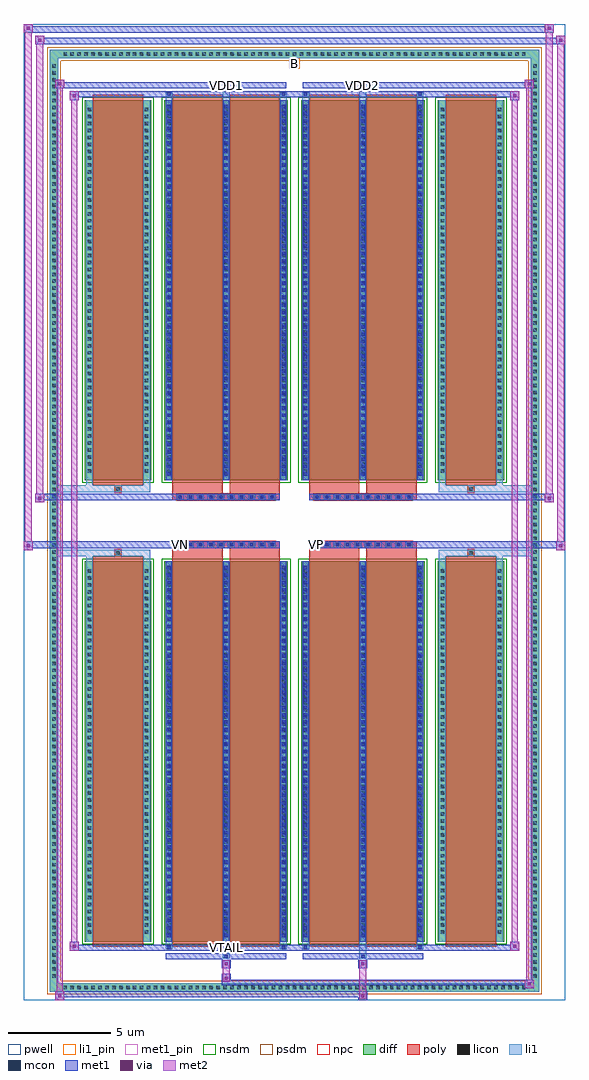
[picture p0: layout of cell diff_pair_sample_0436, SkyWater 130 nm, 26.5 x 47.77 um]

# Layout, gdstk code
import gdstk
lib = gdstk.Library(unit=1e-6, precision=5e-09)
def R(c, l, rs):  # rectangles x0, y0, x1, y1
    for r in rs: c.add(gdstk.rectangle(r[:2], r[2:], *l))
def A(c, l, x, y, w, h, nx, ny, dx, dy):  # array of equal rectangles
    R(c, l, [(x+i*dx, y+j*dy, x+i*dx+w, y+j*dy+h) for i in range(nx) for j in range(ny)])
def P(c, l, *ps):  # polygons
    for p in ps: c.add(gdstk.Polygon(p, *l))
pwell = (64, 44)
diff = (65, 20)
poly = (66, 20)
licon = (66, 44)
li1_pin = (67, 16)
li1 = (67, 20)
mcon = (67, 44)
met1_pin = (68, 16)
met1 = (68, 20)
via = (68, 44)
met2 = (69, 20)
nsdm = (93, 44)
psdm = (94, 20)
npc = (95, 20)

diff_pair_sample_0436 = lib.new_cell('diff_pair_sample_0436')
R(diff_pair_sample_0436, pwell, [(-13.25,-23.45,13.25,24.32), (-10.57,-21.64,-0.01,-0.8), (0.01,-21.64,10.57,-0.8), (-10.57,0.8,-0.01,21.64), (0.01,0.8,10.57,21.64)])
A(diff_pair_sample_0436, diff, -11.425, -23.05, 0.41, 0.41, 67, 2, 0.34, 45.69)
A(diff_pair_sample_0436, diff, -11.98, -22.475, 0.41, 0.41, 1, 132, 0, 0.34)
A(diff_pair_sample_0436, diff, 11.57, -22.475, 0.41, 0.41, 1, 132, 0, 0.34)
R(diff_pair_sample_0436, diff, [(-11.425,-23.05,11.425,-22.64), (-11.98,-22.475,-11.57,22.475), (11.57,-22.475,11.98,22.475), (-10.26,-20.595,-7.01,-1.985), (-6.37,-20.595,-0.32,-1.985), (0.32,-20.595,6.37,-1.985), (7.01,-20.595,10.26,-1.985), (-10.26,1.985,-7.01,20.595), (-6.37,1.985,-0.32,20.595), (0.32,1.985,6.37,20.595), (7.01,1.985,10.26,20.595), (-11.425,22.64,11.425,23.05)])
P(diff_pair_sample_0436, diff, [(11.98,23.05),(-11.98,23.05),(-11.98,-22.64),(-11.57,-22.64),(-11.57,22.64),(11.57,22.64),(11.57,-22.64),(-11.57,-22.64),(-11.98,-22.64),(-11.98,-23.05),(11.98,-23.05)])
A(diff_pair_sample_0436, poly, -5.76, -1.33, 0.33, 0.33, 10, 2, 0.5, 2.33)
A(diff_pair_sample_0436, poly, 0.93, -1.33, 0.33, 0.33, 10, 2, 0.5, 2.33)
R(diff_pair_sample_0436, poly, [(-9.87,-20.845,-7.4,-1.735), (-5.98,-20.845,-3.51,-1.735), (-3.18,-20.845,-0.71,-1.735), (0.71,-20.845,3.18,-1.735), (3.51,-20.845,5.98,-1.735), (7.4,-20.845,9.87,-1.735), (-8.8,-1.735,-8.47,-1.405), (-8.8,-1.735,-8.47,-1.405), (-5.98,-1.735,-3.51,-1.33), (-3.18,-1.735,-0.71,-1.33), (0.71,-1.735,3.18,-1.33), (3.51,-1.735,5.98,-1.33), (8.47,-1.735,8.8,-1.405), (8.47,-1.735,8.8,-1.405), (-5.98,-1.33,-0.71,-1), (0.71,-1.33,5.98,-1), (-5.98,1,-0.71,1.33), (0.71,1,5.98,1.33), (-5.98,1.33,-3.51,1.735), (-3.18,1.33,-0.71,1.735), (0.71,1.33,3.18,1.735), (3.51,1.33,5.98,1.735), (-8.8,1.405,-8.47,1.735), (-8.8,1.405,-8.47,1.735), (8.47,1.405,8.8,1.735), (8.47,1.405,8.8,1.735), (-9.87,1.735,-7.4,20.845), (-5.98,1.735,-3.51,20.845), (-3.18,1.735,-0.71,20.845), (0.71,1.735,3.18,20.845), (3.51,1.735,5.98,20.845), (7.4,1.735,9.87,20.845)])
A(diff_pair_sample_0436, licon, -11.305, -22.93, 0.17, 0.17, 67, 2, 0.34, 45.69)
A(diff_pair_sample_0436, licon, -11.86, -22.355, 0.17, 0.17, 1, 132, 0, 0.34)
A(diff_pair_sample_0436, licon, 11.69, -22.355, 0.17, 0.17, 1, 132, 0, 0.34)
A(diff_pair_sample_0436, licon, -10.12, -20.215, 0.17, 0.17, 1, 53, 0, 0.34)
A(diff_pair_sample_0436, licon, -7.32, -20.215, 0.17, 0.17, 1, 53, 0, 0.34)
A(diff_pair_sample_0436, licon, -6.23, -20.215, 0.17, 0.17, 3, 53, 2.8, 0.34)
A(diff_pair_sample_0436, licon, 0.46, -20.215, 0.17, 0.17, 3, 53, 2.8, 0.34)
A(diff_pair_sample_0436, licon, 7.15, -20.215, 0.17, 0.17, 1, 53, 0, 0.34)
A(diff_pair_sample_0436, licon, 9.95, -20.215, 0.17, 0.17, 1, 53, 0, 0.34)
A(diff_pair_sample_0436, licon, -5.68, -1.25, 0.17, 0.17, 10, 2, 0.5, 2.33)
A(diff_pair_sample_0436, licon, 1.01, -1.25, 0.17, 0.17, 10, 2, 0.5, 2.33)
A(diff_pair_sample_0436, licon, -10.12, 2.365, 0.17, 0.17, 1, 53, 0, 0.34)
A(diff_pair_sample_0436, licon, -7.32, 2.365, 0.17, 0.17, 1, 53, 0, 0.34)
A(diff_pair_sample_0436, licon, -6.23, 2.365, 0.17, 0.17, 3, 53, 2.8, 0.34)
A(diff_pair_sample_0436, licon, 0.46, 2.365, 0.17, 0.17, 3, 53, 2.8, 0.34)
A(diff_pair_sample_0436, licon, 7.15, 2.365, 0.17, 0.17, 1, 53, 0, 0.34)
A(diff_pair_sample_0436, licon, 9.95, 2.365, 0.17, 0.17, 1, 53, 0, 0.34)
R(diff_pair_sample_0436, licon, [(-8.72,-1.655,-8.55,-1.485), (8.55,-1.655,8.72,-1.485), (-8.72,1.485,-8.55,1.655), (8.55,1.485,8.72,1.655)])
R(diff_pair_sample_0436, li1_pin, [(-0.25,22.14,0.25,22.64)])
A(diff_pair_sample_0436, li1, -11.385, -23.01, 0.33, 0.33, 67, 2, 0.34, 45.69)
A(diff_pair_sample_0436, li1, -11.94, -22.435, 0.33, 0.33, 1, 132, 0, 0.34)
A(diff_pair_sample_0436, li1, 11.61, -22.435, 0.33, 0.33, 1, 132, 0, 0.34)
A(diff_pair_sample_0436, li1, -6.31, -20.595, 0.33, 18.61, 3, 2, 2.8, 22.58)
A(diff_pair_sample_0436, li1, 0.38, -20.595, 0.33, 18.61, 3, 2, 2.8, 22.58)
A(diff_pair_sample_0436, li1, -6.23, -20.375, 0.17, 0.17, 3, 51, 2.8, 0.36)
A(diff_pair_sample_0436, li1, -6.23, -20.375, 0.17, 18.17, 3, 2, 2.8, 22.58)
A(diff_pair_sample_0436, li1, 0.46, -20.375, 0.17, 0.17, 3, 51, 2.8, 0.36)
A(diff_pair_sample_0436, li1, 0.46, -20.375, 0.17, 18.17, 3, 2, 2.8, 22.58)
A(diff_pair_sample_0436, li1, -10.2, -20.295, 0.33, 0.33, 1, 53, 0, 0.34)
A(diff_pair_sample_0436, li1, -7.4, -20.295, 0.33, 0.33, 1, 53, 0, 0.34)
A(diff_pair_sample_0436, li1, -6.31, -20.295, 0.33, 0.33, 3, 53, 2.8, 0.34)
A(diff_pair_sample_0436, li1, 0.38, -20.295, 0.33, 0.33, 3, 53, 2.8, 0.34)
A(diff_pair_sample_0436, li1, 7.07, -20.295, 0.33, 0.33, 1, 53, 0, 0.34)
A(diff_pair_sample_0436, li1, 9.87, -20.295, 0.33, 0.33, 1, 53, 0, 0.34)
A(diff_pair_sample_0436, li1, -5.76, -1.33, 0.33, 0.33, 10, 2, 0.5, 2.33)
A(diff_pair_sample_0436, li1, 0.93, -1.33, 0.33, 0.33, 10, 2, 0.5, 2.33)
A(diff_pair_sample_0436, li1, -6.23, 2.205, 0.17, 0.17, 3, 51, 2.8, 0.36)
A(diff_pair_sample_0436, li1, 0.46, 2.205, 0.17, 0.17, 3, 51, 2.8, 0.36)
A(diff_pair_sample_0436, li1, -10.2, 2.285, 0.33, 0.33, 1, 53, 0, 0.34)
A(diff_pair_sample_0436, li1, -7.4, 2.285, 0.33, 0.33, 1, 53, 0, 0.34)
A(diff_pair_sample_0436, li1, -6.31, 2.285, 0.33, 0.33, 3, 53, 2.8, 0.34)
A(diff_pair_sample_0436, li1, 0.38, 2.285, 0.33, 0.33, 3, 53, 2.8, 0.34)
A(diff_pair_sample_0436, li1, 7.07, 2.285, 0.33, 0.33, 1, 53, 0, 0.34)
A(diff_pair_sample_0436, li1, 9.87, 2.285, 0.33, 0.33, 1, 53, 0, 0.34)
R(diff_pair_sample_0436, li1, [(-11.98,-23.05,-11.57,-22.64), (-11.98,-23.05,-11.57,-22.64), (-11.57,-23.05,11.57,-22.64), (11.57,-23.05,11.98,-22.64), (11.57,-23.05,11.98,-22.64), (-11.98,-22.64,-11.57,22.64), (11.57,-22.64,11.98,22.64), (-3.51,-21.4,-3.18,-20.595), (-3.43,-21.4,-3.26,-21.23), (3.18,-21.4,3.51,-20.595), (3.26,-21.4,3.43,-21.23), (-6.31,-20.97,-5.98,-20.595), (-6.23,-20.97,-6.06,-20.8), (-0.71,-20.97,-0.38,-20.595), (-0.63,-20.97,-0.46,-20.8), (0.38,-20.97,0.71,-20.595), (0.46,-20.97,0.63,-20.8), (5.98,-20.97,6.31,-20.595), (6.06,-20.97,6.23,-20.8), (-10.2,-20.595,-9.87,-1.985), (-7.4,-20.595,-7.07,-1.985), (7.07,-20.595,7.4,-1.985), (9.87,-20.595,10.2,-1.985), (-10.2,-1.985,-9.87,-1.405), (-7.4,-1.985,-7.07,-1.405), (7.07,-1.985,7.4,-1.405), (9.87,-1.985,10.2,-1.405), (-11.98,-1.735,-8.8,-1.405), (-10.2,-1.735,-8.8,-1.405), (-8.8,-1.735,-8.47,-1.405), (-8.47,-1.735,-7.07,-1.405), (7.07,-1.735,8.47,-1.405), (8.47,-1.735,8.8,-1.405), (8.47,-1.735,11.98,-1.405), (8.8,-1.735,10.2,-1.405), (-11.98,1.405,-8.8,1.735), (-10.2,1.405,-8.8,1.735), (-10.2,1.405,-9.87,1.985), (-8.8,1.405,-8.47,1.735), (-8.47,1.405,-7.07,1.735), (-7.4,1.405,-7.07,1.985), (7.07,1.405,8.47,1.735), (7.07,1.405,7.4,1.985), (8.47,1.405,8.8,1.735), (8.47,1.405,11.98,1.735), (8.8,1.405,10.2,1.735), (9.87,1.405,10.2,1.985), (-10.2,1.985,-9.87,20.595), (-7.4,1.985,-7.07,20.595), (7.07,1.985,7.4,20.595), (9.87,1.985,10.2,20.595), (-6.31,20.595,-5.98,20.97), (-3.51,20.595,-3.18,21.4), (-0.71,20.595,-0.38,20.97), (0.38,20.595,0.71,20.97), (3.18,20.595,3.51,21.4), (5.98,20.595,6.31,20.97), (-6.23,20.8,-6.06,20.97), (-0.63,20.8,-0.46,20.97), (0.46,20.8,0.63,20.97), (6.06,20.8,6.23,20.97), (-3.43,21.23,-3.26,21.4), (3.26,21.23,3.43,21.4), (-11.98,22.64,-11.57,23.05), (-11.98,22.64,-11.57,23.05), (-11.57,22.64,11.57,23.05), (11.57,22.64,11.98,23.05), (11.57,22.64,11.98,23.05)])
A(diff_pair_sample_0436, mcon, -6.23, -20.375, 0.17, 0.17, 3, 51, 2.8, 0.36)
A(diff_pair_sample_0436, mcon, 0.46, -20.375, 0.17, 0.17, 3, 51, 2.8, 0.36)
A(diff_pair_sample_0436, mcon, -5.68, -1.25, 0.17, 0.17, 10, 2, 0.5, 2.33)
A(diff_pair_sample_0436, mcon, 1.01, -1.25, 0.17, 0.17, 10, 2, 0.5, 2.33)
A(diff_pair_sample_0436, mcon, -6.23, 2.205, 0.17, 0.17, 3, 51, 2.8, 0.36)
A(diff_pair_sample_0436, mcon, 0.46, 2.205, 0.17, 0.17, 3, 51, 2.8, 0.36)
R(diff_pair_sample_0436, mcon, [(-3.43,-21.4,-3.26,-21.23), (3.26,-21.4,3.43,-21.23), (-6.23,-20.97,-6.06,-20.8), (-0.63,-20.97,-0.46,-20.8), (0.46,-20.97,0.63,-20.8), (6.06,-20.97,6.23,-20.8), (-6.23,20.8,-6.06,20.97), (-0.63,20.8,-0.46,20.97), (0.46,20.8,0.63,20.97), (6.06,20.8,6.23,20.97), (-3.43,21.23,-3.26,21.4), (3.26,21.23,3.43,21.4)])
R(diff_pair_sample_0436, met1_pin, [(-3.48,-21.01,-3.21,-20.74), (-5.73,-1.29,-5.46,-1.02), (0.96,-1.29,1.23,-1.02), (-3.48,21.19,-3.21,21.46), (3.21,21.19,3.48,21.46)])
A(diff_pair_sample_0436, met1, -6.29, -20.595, 0.29, 18.61, 3, 2, 2.8, 22.58)
A(diff_pair_sample_0436, met1, 0.4, -20.595, 0.29, 18.61, 3, 2, 2.8, 22.58)
A(diff_pair_sample_0436, met1, -6.29, -20.435, 0.29, 0.29, 3, 51, 2.8, 0.36)
A(diff_pair_sample_0436, met1, 0.4, -20.435, 0.29, 0.29, 3, 51, 2.8, 0.36)
A(diff_pair_sample_0436, met1, -5.74, -1.31, 0.29, 0.29, 10, 2, 0.5, 2.33)
A(diff_pair_sample_0436, met1, 0.95, -1.31, 0.29, 0.29, 10, 2, 0.5, 2.33)
A(diff_pair_sample_0436, met1, -6.29, 2.145, 0.29, 0.29, 3, 51, 2.8, 0.36)
A(diff_pair_sample_0436, met1, 0.4, 2.145, 0.29, 0.29, 3, 51, 2.8, 0.36)
R(diff_pair_sample_0436, met1, [(-11.71,-23.45,-11.28,-23.02), (3.13,-23.45,3.56,-23.02), (-11.71,-23.31,3.56,-23.02), (11.28,-22.88,11.71,-22.45), (-3.56,-22.74,11.71,-22.45), (-3.56,-22.6,-3.13,-22.17), (-3.56,-21.89,-3.13,-21.46), (3.13,-21.89,3.56,-21.46), (-6.29,-21.46,-0.4,-21.17), (-3.49,-21.46,-3.2,-21.17), (0.4,-21.46,6.29,-21.17), (3.2,-21.46,3.49,-21.17), (-11,-21.03,-10.57,-20.6), (-11,-21.03,-6.29,-20.74), (-6.29,-21.03,-6,-20.74), (-6.29,-21.03,-0.4,-20.74), (-0.69,-21.03,-0.4,-20.74), (-0.4,-21.03,0.4,-20.74), (0.4,-21.03,0.69,-20.74), (0.4,-21.03,6.29,-20.74), (6,-21.03,6.29,-20.74), (6.29,-21.03,11,-20.74), (10.57,-21.03,11,-20.6), (-13.25,-1.43,-12.82,-1), (12.82,-1.43,13.25,-1), (-13.25,-1.33,-0.71,-1), (-5.98,-1.33,-0.71,-1), (0.71,-1.33,5.98,-1), (0.71,-1.33,13.25,-1), (-12.68,0.9,-12.25,1.33), (12.25,0.9,12.68,1.33), (-12.68,1,-5.98,1.33), (-5.98,1,-0.71,1.33), (0.71,1,5.98,1.33), (5.98,1,12.68,1.33), (-11,20.6,-10.57,21.03), (10.57,20.6,11,21.03), (-11,20.74,-6.29,21.03), (-6.29,20.74,-6,21.03), (-6.29,20.74,-0.4,21.03), (-0.69,20.74,-0.4,21.03), (-0.4,20.74,0.4,21.03), (0.4,20.74,0.69,21.03), (0.4,20.74,6.29,21.03), (6,20.74,6.29,21.03), (6.29,20.74,11,21.03), (-11.71,21.17,-11.28,21.6), (-11.71,21.17,-6.29,21.46), (-6.29,21.17,-0.4,21.46), (-3.49,21.17,-3.2,21.46), (0.4,21.17,6.29,21.46), (3.2,21.17,3.49,21.46), (6.29,21.17,11.71,21.46), (11.28,21.17,11.71,21.6), (-12.68,23.32,-12.25,23.75), (-12.68,23.32,-10.57,23.65), (-10.57,23.32,10.57,23.65), (10.57,23.32,13.25,23.65), (12.82,23.32,13.25,23.75), (-13.25,23.89,-12.82,24.32), (-13.25,23.89,-10.57,24.22), (-10.57,23.89,10.57,24.22), (10.57,23.89,12.68,24.22), (12.25,23.89,12.68,24.32)])
R(diff_pair_sample_0436, via, [(-11.57,-23.31,-11.42,-23.16), (3.27,-23.31,3.42,-23.16), (11.42,-22.74,11.57,-22.59), (-3.42,-22.46,-3.27,-22.31), (-3.42,-21.75,-3.27,-21.6), (3.27,-21.75,3.42,-21.6), (-10.86,-20.89,-10.71,-20.74), (10.71,-20.89,10.86,-20.74), (-13.11,-1.29,-12.96,-1.14), (12.96,-1.29,13.11,-1.14), (-12.54,1.04,-12.39,1.19), (12.39,1.04,12.54,1.19), (-10.86,20.74,-10.71,20.89), (10.71,20.74,10.86,20.89), (-11.57,21.31,-11.42,21.46), (11.42,21.31,11.57,21.46), (-12.54,23.46,-12.39,23.61), (12.96,23.46,13.11,23.61), (-13.11,24.03,-12.96,24.18), (12.39,24.03,12.54,24.18)])
R(diff_pair_sample_0436, met2, [(-11.71,-23.45,-11.28,-23.02), (-11.64,-23.45,-11.35,21.6), (-11.35,-23.45,-11.28,-23.02), (-11.66,-23.4,-11.33,-23.07), (3.18,-23.4,3.51,-23.07), (3.18,-23.07,3.51,-21.84), (11.28,-22.88,11.71,-22.45), (11.35,-22.88,11.64,21.6), (11.64,-22.88,11.71,-22.45), (11.33,-22.83,11.66,-22.5), (-3.51,-22.55,-3.18,-22.22), (-3.51,-22.22,-3.18,-21.84), (-3.51,-21.84,-3.18,-21.51), (3.18,-21.84,3.51,-21.51), (-11,-21.03,-10.57,-20.6), (-10.93,-21.03,-10.64,21.03), (-10.64,-21.03,-10.57,-20.6), (10.57,-21.03,11,-20.6), (10.64,-21.03,10.93,21.03), (10.93,-21.03,11,-20.6), (-10.95,-20.98,-10.62,-20.65), (10.62,-20.98,10.95,-20.65), (-13.25,-1.43,-12.82,-1), (-13.2,-1.43,-12.87,24.32), (-12.87,-1.43,-12.82,-1), (12.82,-1.43,13.25,-1), (12.87,-1.43,13.2,23.75), (13.2,-1.43,13.25,-1), (-13.2,-1.38,-12.87,-1.05), (12.87,-1.38,13.2,-1.05), (-12.68,0.9,-12.25,1.33), (-12.63,0.9,-12.3,23.75), (-12.3,0.9,-12.25,1.33), (12.25,0.9,12.68,1.33), (12.3,0.9,12.63,24.32), (12.63,0.9,12.68,1.33), (-12.63,0.95,-12.3,1.28), (12.3,0.95,12.63,1.28), (-11,20.6,-10.57,21.03), (-10.64,20.6,-10.57,21.03), (10.57,20.6,11,21.03), (10.93,20.6,11,21.03), (-10.95,20.65,-10.62,20.98), (10.62,20.65,10.95,20.98), (-11.71,21.17,-11.28,21.6), (-11.35,21.17,-11.28,21.6), (11.28,21.17,11.71,21.6), (11.64,21.17,11.71,21.6), (-11.66,21.22,-11.33,21.55), (11.33,21.22,11.66,21.55), (-12.68,23.32,-12.25,23.75), (-12.3,23.32,-12.25,23.75), (12.82,23.32,13.25,23.75), (13.2,23.32,13.25,23.75), (-12.63,23.37,-12.3,23.7), (12.87,23.37,13.2,23.7), (-13.25,23.89,-12.82,24.32), (-12.87,23.89,-12.82,24.32), (12.25,23.89,12.68,24.32), (12.63,23.89,12.68,24.32), (-13.2,23.94,-12.87,24.27), (12.3,23.94,12.63,24.27)])
R(diff_pair_sample_0436, nsdm, [(-10.39,-20.725,-6.88,-1.855), (-6.5,-20.725,-0.19,-1.855), (0.19,-20.725,6.5,-1.855), (6.88,-20.725,10.39,-1.855), (-10.39,1.855,-6.88,20.725), (-6.5,1.855,-0.19,20.725), (0.19,1.855,6.5,20.725), (6.88,1.855,10.39,20.725)])
P(diff_pair_sample_0436, psdm, [(12.11,23.18),(-12.11,23.18),(-12.11,-22.51),(-11.44,-22.51),(-11.44,22.51),(11.44,22.51),(11.44,-22.51),(-11.44,-22.51),(-12.11,-22.51),(-12.11,-23.18),(12.11,-23.18)])
A(diff_pair_sample_0436, npc, -5.78, -1.35, 0.37, 0.37, 10, 2, 0.5, 2.33)
A(diff_pair_sample_0436, npc, 0.91, -1.35, 0.37, 0.37, 10, 2, 0.5, 2.33)
R(diff_pair_sample_0436, npc, [(-8.82,-1.755,-8.45,-1.385), (8.45,-1.755,8.82,-1.385), (-5.78,-1.35,-4.91,-0.98), (-5.78,-1.35,-4.91,-0.98), (-5.28,-1.35,-4.41,-0.98), (-5.28,-1.35,-4.41,-0.98), (-4.78,-1.35,-3.91,-0.98), (-4.78,-1.35,-3.91,-0.98), (-4.28,-1.35,-3.41,-0.98), (-4.28,-1.35,-3.41,-0.98), (-3.78,-1.35,-2.91,-0.98), (-3.78,-1.35,-2.91,-0.98), (-3.28,-1.35,-2.41,-0.98), (-3.28,-1.35,-2.41,-0.98), (-2.78,-1.35,-1.91,-0.98), (-2.78,-1.35,-1.91,-0.98), (-2.28,-1.35,-1.41,-0.98), (-2.28,-1.35,-1.41,-0.98), (-1.78,-1.35,-0.91,-0.98), (-1.78,-1.35,-0.91,-0.98), (0.91,-1.35,1.78,-0.98), (0.91,-1.35,1.78,-0.98), (1.41,-1.35,2.28,-0.98), (1.41,-1.35,2.28,-0.98), (1.91,-1.35,2.78,-0.98), (1.91,-1.35,2.78,-0.98), (2.41,-1.35,3.28,-0.98), (2.41,-1.35,3.28,-0.98), (2.91,-1.35,3.78,-0.98), (2.91,-1.35,3.78,-0.98), (3.41,-1.35,4.28,-0.98), (3.41,-1.35,4.28,-0.98), (3.91,-1.35,4.78,-0.98), (3.91,-1.35,4.78,-0.98), (4.41,-1.35,5.28,-0.98), (4.41,-1.35,5.28,-0.98), (4.91,-1.35,5.78,-0.98), (4.91,-1.35,5.78,-0.98), (-5.78,0.98,-4.91,1.35), (-5.78,0.98,-4.91,1.35), (-5.28,0.98,-4.41,1.35), (-5.28,0.98,-4.41,1.35), (-4.78,0.98,-3.91,1.35), (-4.78,0.98,-3.91,1.35), (-4.28,0.98,-3.41,1.35), (-4.28,0.98,-3.41,1.35), (-3.78,0.98,-2.91,1.35), (-3.78,0.98,-2.91,1.35), (-3.28,0.98,-2.41,1.35), (-3.28,0.98,-2.41,1.35), (-2.78,0.98,-1.91,1.35), (-2.78,0.98,-1.91,1.35), (-2.28,0.98,-1.41,1.35), (-2.28,0.98,-1.41,1.35), (-1.78,0.98,-0.91,1.35), (-1.78,0.98,-0.91,1.35), (0.91,0.98,1.78,1.35), (0.91,0.98,1.78,1.35), (1.41,0.98,2.28,1.35), (1.41,0.98,2.28,1.35), (1.91,0.98,2.78,1.35), (1.91,0.98,2.78,1.35), (2.41,0.98,3.28,1.35), (2.41,0.98,3.28,1.35), (2.91,0.98,3.78,1.35), (2.91,0.98,3.78,1.35), (3.41,0.98,4.28,1.35), (3.41,0.98,4.28,1.35), (3.91,0.98,4.78,1.35), (3.91,0.98,4.78,1.35), (4.41,0.98,5.28,1.35), (4.41,0.98,5.28,1.35), (4.91,0.98,5.78,1.35), (4.91,0.98,5.78,1.35), (-8.82,1.385,-8.45,1.755), (8.45,1.385,8.82,1.755)])
diff_pair_sample_0436.add(gdstk.Label('VTAIL', (-3.345,-20.875), layer=68, texttype=5))
diff_pair_sample_0436.add(gdstk.Label('VN', (-5.595,-1.155), layer=68, texttype=5))
diff_pair_sample_0436.add(gdstk.Label('VP', (1.095,-1.155), layer=68, texttype=5))
diff_pair_sample_0436.add(gdstk.Label('B', (0,22.39), layer=67, texttype=5))
diff_pair_sample_0436.add(gdstk.Label('VDD2', (3.345,21.325), layer=68, texttype=5))
diff_pair_sample_0436.add(gdstk.Label('VDD1', (-3.345,21.325), layer=68, texttype=5))

lib.write_gds('diff_pair_sample_0436.gds')
